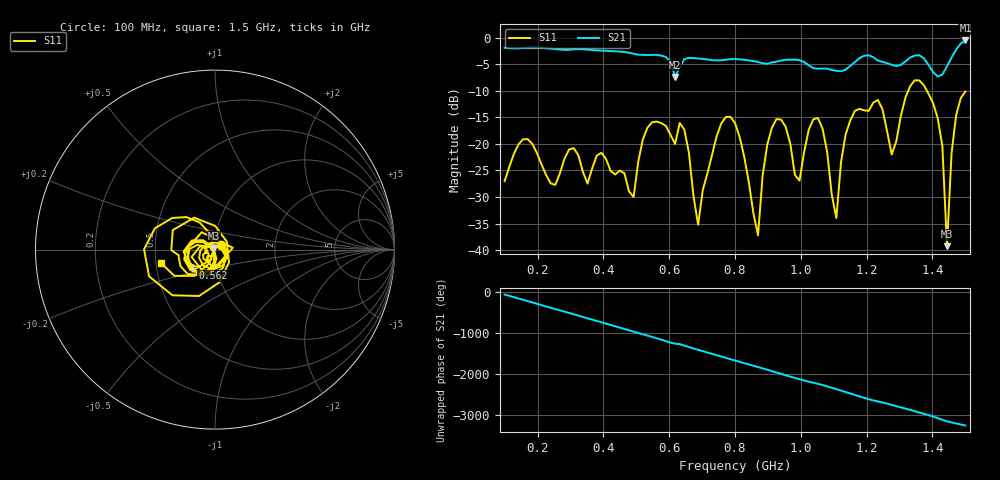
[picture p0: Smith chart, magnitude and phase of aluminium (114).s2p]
! NanoVNA-App
! Date: 2025-09-25 14:56:10
! Start: 100MHz Stop: 1,5GHz Points: 101
! S-Parameter data: F S11 S21 S12 S22
# Hz S RI R 50
!  Frequency  S11_Real  S11_Imag  S21_Real  S21_Imag  S12_Real  S12_Imag  S22_Real  S22_Imag
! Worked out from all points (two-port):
!   101 points, 100 MHz to 1.5 GHz, reference 50 ohm
!   highest |S21| = -0.55 dB at 1.5 GHz (marker M1); lowest = -7.4 dB at 618 MHz (marker M2)
!   |S21| within 3 dB of the highest: start of sweep to 584.7 MHz; 1.46 GHz to end of sweep (the widest 2 of 4)
!   lowest |S11| = -39.2 dB at 1.444 GHz (marker M3), VSWR 1.02, Z = 49.4 + j0.926 ohm
!   |S11| at or under -10 dB: start of sweep to 1.326 GHz; 1.383 GHz to end of sweep
!   S12 and S22 are empty: the file has one direction only
!   S11 on the Smith chart (normalised r, x): 100 MHz: 1.07, +0.06; 562 MHz: 0.76, -0.16; 1.5 GHz: 0.53, -0.09
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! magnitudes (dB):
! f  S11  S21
! 100 MHz  -27.0  -1.9
! 156 MHz  -19.1  -2.0
! 338 MHz  -25.3  -2.2
! 492 MHz  -30.0  -3.1
! 562 MHz  -15.8  -3.3
! 576 MHz  -16.1  -3.4
! 618 MHz  -20.0  -7.4
! 646 MHz  -17.3  -4.1
! 688 MHz  -35.2  -3.9
! 800 MHz  -16.1  -4.0
! 870 MHz  -37.2  -4.6
! 912 MHz  -17.0  -4.7
! 996 MHz  -26.9  -4.3
! 1.038 GHz  -15.4  -5.8
! 1.108 GHz  -33.9  -6.3
! 1.164 GHz  -13.8  -4.6
! 1.276 GHz  -22.0  -5.1
! 1.374 GHz  -9.0  -3.9
! 1.43 GHz  -20.4  -7.0
! 1.444 GHz  -39.2  -5.4
! 1.458 GHz  -21.7  -3.8
! 1.5 GHz  -10.1  -0.6
